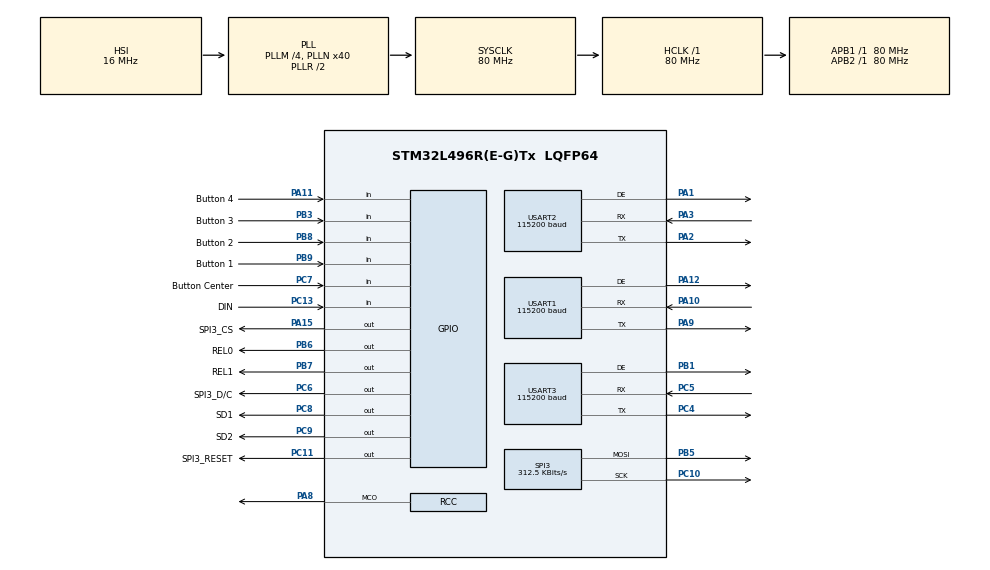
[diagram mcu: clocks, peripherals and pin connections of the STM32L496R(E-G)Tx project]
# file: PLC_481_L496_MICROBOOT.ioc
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Dma.Request0=USART1_RX
Dma.Request1=USART1_TX
Dma.Request2=USART3_RX
Dma.Request3=USART3_TX
Dma.Request4=USART2_RX
Dma.Request5=USART2_TX
Dma.USART1_RX.0.Direction=DMA_PERIPH_TO_MEMORY
Dma.USART1_RX.0.Instance=DMA1_Channel5
Dma.USART1_RX.0.MemDataAlignment=DMA_MDATAALIGN_BYTE
Dma.USART1_RX.0.MemInc=DMA_MINC_ENABLE
Dma.USART1_RX.0.Mode=DMA_NORMAL
Dma.USART1_RX.0.PeriphDataAlignment=DMA_PDATAALIGN_BYTE
Dma.USART1_RX.0.PeriphInc=DMA_PINC_DISABLE
Dma.USART1_RX.0.Priority=DMA_PRIORITY_LOW
Dma.USART1_TX.1.Direction=DMA_MEMORY_TO_PERIPH
Dma.USART1_TX.1.Instance=DMA1_Channel4
Dma.USART1_TX.1.MemDataAlignment=DMA_MDATAALIGN_BYTE
Dma.USART1_TX.1.MemInc=DMA_MINC_ENABLE
Dma.USART1_TX.1.Mode=DMA_NORMAL
Dma.USART1_TX.1.PeriphDataAlignment=DMA_PDATAALIGN_BYTE
Dma.USART1_TX.1.PeriphInc=DMA_PINC_DISABLE
Dma.USART1_TX.1.Priority=DMA_PRIORITY_LOW
Dma.USART2_RX.4.Direction=DMA_PERIPH_TO_MEMORY
Dma.USART2_RX.4.Instance=DMA1_Channel6
Dma.USART2_RX.4.MemDataAlignment=DMA_MDATAALIGN_BYTE
Dma.USART2_RX.4.MemInc=DMA_MINC_ENABLE
Dma.USART2_RX.4.Mode=DMA_NORMAL
Dma.USART2_RX.4.PeriphDataAlignment=DMA_PDATAALIGN_BYTE
Dma.USART2_RX.4.PeriphInc=DMA_PINC_DISABLE
Dma.USART2_RX.4.Priority=DMA_PRIORITY_LOW
Dma.USART2_TX.5.Direction=DMA_MEMORY_TO_PERIPH
Dma.USART2_TX.5.Instance=DMA1_Channel7
Dma.USART2_TX.5.MemDataAlignment=DMA_MDATAALIGN_BYTE
Dma.USART2_TX.5.MemInc=DMA_MINC_ENABLE
Dma.USART2_TX.5.Mode=DMA_NORMAL
Dma.USART2_TX.5.PeriphDataAlignment=DMA_PDATAALIGN_BYTE
Dma.USART2_TX.5.PeriphInc=DMA_PINC_DISABLE
Dma.USART2_TX.5.Priority=DMA_PRIORITY_LOW
Dma.USART3_RX.2.Direction=DMA_PERIPH_TO_MEMORY
Dma.USART3_RX.2.Instance=DMA1_Channel3
Dma.USART3_RX.2.MemDataAlignment=DMA_MDATAALIGN_BYTE
Dma.USART3_RX.2.MemInc=DMA_MINC_ENABLE
Dma.USART3_RX.2.Mode=DMA_NORMAL
Dma.USART3_RX.2.PeriphDataAlignment=DMA_PDATAALIGN_BYTE
Dma.USART3_RX.2.PeriphInc=DMA_PINC_DISABLE
Dma.USART3_RX.2.Priority=DMA_PRIORITY_LOW
Dma.USART3_TX.3.Direction=DMA_MEMORY_TO_PERIPH
Dma.USART3_TX.3.Instance=DMA1_Channel2
Dma.USART3_TX.3.MemDataAlignment=DMA_MDATAALIGN_BYTE
Dma.USART3_TX.3.MemInc=DMA_MINC_ENABLE
Dma.USART3_TX.3.Mode=DMA_NORMAL
Dma.USART3_TX.3.PeriphDataAlignment=DMA_PDATAALIGN_BYTE
Dma.USART3_TX.3.PeriphInc=DMA_PINC_DISABLE
Dma.USART3_TX.3.Priority=DMA_PRIORITY_LOW
IWDG.Prescaler=IWDG_PRESCALER_32
IWDG.Reload=4095
Mcu.Family=STM32L4
Mcu.Name=STM32L496R(E-G)Tx
Mcu.Package=LQFP64
NVIC.DMA1_Channel2_IRQn=true\:0\:0\:false\:false\:true\:false
NVIC.DMA1_Channel3_IRQn=true\:0\:0\:false\:false\:true\:false
NVIC.DMA1_Channel4_IRQn=true\:0\:0\:false\:false\:true\:false
NVIC.DMA1_Channel5_IRQn=true\:0\:0\:false\:false\:true\:false
NVIC.DMA1_Channel6_IRQn=true\:0\:0\:false\:false\:true\:false
NVIC.DMA1_Channel7_IRQn=true\:0\:0\:false\:false\:true\:false
NVIC.PriorityGroup=NVIC_PRIORITYGROUP_4
NVIC.TIM1_UP_TIM16_IRQn=true\:0\:0\:false\:false\:true\:false
NVIC.TIM6_DAC_IRQn=true\:0\:0\:false\:false\:true\:true
NVIC.TIM7_IRQn=true\:0\:0\:false\:false\:true\:true
NVIC.TimeBase=TIM1_UP_TIM16_IRQn
NVIC.TimeBaseIP=TIM1
NVIC.USART1_IRQn=true\:0\:0\:false\:false\:true\:true
NVIC.USART2_IRQn=true\:0\:0\:false\:false\:true\:true
NVIC.USART3_IRQn=true\:0\:0\:false\:false\:true\:true
PA1.Mode=Hardware Flow Control (RS485)
PA1.Signal=USART2_DE
PA10.Mode=Asynchronous
PA10.Signal=USART1_RX
PA11.GPIO_Label=Button 4
PA11.GPIO_PuPd=GPIO_PULLUP
PA11.Signal=GPIO_Input
PA12.Mode=Hardware Flow Control (RS485)
PA12.Signal=USART1_DE
PA13\ (JTMS/SWDIO).Mode=Serial_Wire
PA13\ (JTMS/SWDIO).Signal=SYS_JTMS-SWDIO
PA14\ (JTCK/SWCLK).Mode=Serial_Wire
PA14\ (JTCK/SWCLK).Signal=SYS_JTCK-SWCLK
PA15\ (JTDI).GPIO_Label=SPI3_CS
PA15\ (JTDI).Signal=GPIO_Output
PA2.Mode=Asynchronous
PA2.Signal=USART2_TX
PA3.Mode=Asynchronous
PA3.Signal=USART2_RX
PA8.Mode=Clock-out
PA8.Signal=RCC_MCO
PA9.Mode=Asynchronous
PA9.Signal=USART1_TX
PB1.Mode=Hardware Flow Control (RS485)
PB1.Signal=USART3_DE
PB3\ (JTDO/TRACESWO).GPIO_Label=Button 3
PB3\ (JTDO/TRACESWO).GPIO_PuPd=GPIO_PULLUP
PB3\ (JTDO/TRACESWO).Signal=GPIO_Input
PB5.Mode=TX_Only_Simplex_Unidirect_Master
PB5.Signal=SPI3_MOSI
PB6.GPIO_Label=REL0
PB6.Signal=GPIO_Output
PB7.GPIO_Label=REL1
PB7.Signal=GPIO_Output
PB8.GPIO_Label=Button 2
PB8.GPIO_PuPd=GPIO_PULLUP
PB8.Signal=GPIO_Input
PB9.GPIO_Label=Button 1
PB9.GPIO_PuPd=GPIO_PULLUP
PB9.Signal=GPIO_Input
PC10.Mode=TX_Only_Simplex_Unidirect_Master
PC10.Signal=SPI3_SCK
PC11.GPIO_Label=SPI3_RESET
PC11.Signal=GPIO_Output
PC13.GPIO_Label=DIN
PC13.GPIO_PuPd=GPIO_PULLUP
PC13.Signal=GPIO_Input
PC14-OSC32_IN\ (PC14).Mode=LSE-External-Oscillator
PC14-OSC32_IN\ (PC14).Signal=RCC_OSC32_IN
PC15-OSC32_OUT\ (PC15).Mode=LSE-External-Oscillator
PC15-OSC32_OUT\ (PC15).Signal=RCC_OSC32_OUT
PC4.Mode=Asynchronous
PC4.Signal=USART3_TX
PC5.Mode=Asynchronous
PC5.Signal=USART3_RX
PC6.GPIO_Label=SPI3_D/C
PC6.Signal=GPIO_Output
PC7.GPIO_Label=Button Center
PC7.GPIO_PuPd=GPIO_PULLUP
PC7.Signal=GPIO_Input
PC8.GPIO_Label=SD1
PC8.Signal=GPIO_Output
PC9.GPIO_Label=SD2
PC9.Signal=GPIO_Output
PH0-OSC_IN\ (PH0).Mode=HSE-External-Oscillator
PH0-OSC_IN\ (PH0).Signal=RCC_OSC_IN
PH1-OSC_OUT\ (PH1).Mode=HSE-External-Oscillator
PH1-OSC_OUT\ (PH1).Signal=RCC_OSC_OUT
ProjectManager.HeapSize=0x200
ProjectManager.StackSize=0x400
ProjectManager.TargetToolchain=MDK-ARM V5
RCC.ADCFreq_Value=32000000
RCC.AHBFreq_Value=80000000
RCC.APB1Freq_Value=80000000
RCC.APB1TimFreq_Value=80000000
RCC.APB2Freq_Value=80000000
RCC.APB2TimFreq_Value=80000000
RCC.CortexFreq_Value=80000000
RCC.HCLKFreq_Value=80000000
RCC.HSE_VALUE=14745600
RCC.HSI48_VALUE=48000000
RCC.HSI_VALUE=16000000
RCC.MSI_VALUE=4000000
RCC.PLLM=4
RCC.PLLN=40
RCC.PLLSAI1N=16
RCC.PLLSourceVirtual=RCC_PLLSOURCE_HSI
RCC.RCC_MCO1Source=RCC_MCO1SOURCE_HSE
RCC.RCC_MCODiv=RCC_MCODIV_4
RCC.SYSCLKFreq_VALUE=80000000
RCC.SYSCLKSource=RCC_SYSCLKSOURCE_PLLCLK
RCC.UART5CLockSelection=RCC_UART5CLKSOURCE_HSI
RCC.USBFreq_Value=32000000
RCC.VCOOutputFreq_Value=160000000
SPI3.BaudRatePrescaler=SPI_BAUDRATEPRESCALER_256
SPI3.CLKPhase=SPI_PHASE_2EDGE
SPI3.CLKPolarity=SPI_POLARITY_HIGH
SPI3.CalculateBaudRate=312.5 KBits/s
SPI3.DataSize=SPI_DATASIZE_8BIT
SPI3.Direction=SPI_DIRECTION_2LINES
SPI3.Mode=SPI_MODE_MASTER
SPI3.VirtualType=VM_MASTER
TIM2.Period=0xffffffff
TIM2.Prescaler=8000
TIM6.Period=3124
TIM6.TIM_MasterOutputTrigger=TIM_TRGO_UPDATE
TIM7.Period=999
TIM7.Prescaler=8000-1
TIM7.TIM_MasterOutputTrigger=TIM_TRGO_UPDATE
USART1.AutoBaudRateEnableParam=UART_ADVFEATURE_AUTOBAUDRATE_DISABLE
USART1.BaudRate=115200
USART1.OverrunDisableParam=ADVFEATURE_OVERRUN_DISABLE
USART1.UART_DEAssertionTime=1
USART1.UART_DEDeassertionTime=1
USART1.VirtualMode-Asynchronous=VM_ASYNC
USART1.VirtualMode-Hardware\ Flow\ Control\ (RS485)=VM_ASYNC
USART2.AutoBaudRateEnableParam=UART_ADVFEATURE_AUTOBAUDRATE_DISABLE
USART2.BaudRate=115200
USART2.OverrunDisableParam=ADVFEATURE_OVERRUN_DISABLE
USART2.UART_DEAssertionTime=1
USART2.UART_DEDeassertionTime=1
USART2.VirtualMode-Asynchronous=VM_ASYNC
USART2.VirtualMode-Hardware\ Flow\ Control\ (RS485)=VM_ASYNC
USART3.AutoBaudRateEnableParam=UART_ADVFEATURE_AUTOBAUDRATE_DISABLE
USART3.BaudRate=115200
USART3.OverrunDisableParam=ADVFEATURE_OVERRUN_DISABLE
USART3.UART_DEAssertionTime=1
USART3.UART_DEDeassertionTime=1
USART3.VirtualMode-Asynchronous=VM_ASYNC
USART3.VirtualMode-Hardware\ Flow\ Control\ (RS485)=VM_ASYNC
VP_IWDG_VS_IWDG.Mode=IWDG_Activate
VP_SYS_VS_tim1.Mode=TIM1
VP_TIM2_VS_ClockSourceINT.Mode=Internal
VP_TIM6_VS_ClockSourceINT.Mode=Enable_Timer
VP_TIM7_VS_ClockSourceINT.Mode=Enable_Timer
board=custom

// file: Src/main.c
/**
  ******************************************************************************
  * @file           : main.c
  * @brief          : Main program body
  ******************************************************************************
  ** This notice applies to any and all portions of this file
  * that are not between comment pairs USER CODE BEGIN and
  * USER CODE END. Other portions of this file, whether
  * inserted by the user or by software development tools
  * are owned by their respective copyright owners.
  *
  * COPYRIGHT(c) 2018 STMicroelectronics
  *
  * Redistribution and use in source and binary forms, with or without modification,
  * are permitted provided that the following conditions are met:
  *   1. Redistributions of source code must retain the above copyright notice,
  *      this list of conditions and the following disclaimer.
  *   2. Redistributions in binary form must reproduce the above copyright notice,
  *      this list of conditions and the following disclaimer in the documentation
  *      and/or other materials provided with the distribution.
  *   3. Neither the name of STMicroelectronics nor the names of its contributors
  *      may be used to endorse or promote products derived from this software
  *      without specific prior written permission.
  *
  * THIS SOFTWARE IS PROVIDED BY THE COPYRIGHT HOLDERS AND CONTRIBUTORS "AS IS"
  * AND ANY EXPRESS OR IMPLIED WARRANTIES, INCLUDING, BUT NOT LIMITED TO, THE
  * IMPLIED WARRANTIES OF MERCHANTABILITY AND FITNESS FOR A PARTICULAR PURPOSE ARE
  * DISCLAIMED. IN NO EVENT SHALL THE COPYRIGHT HOLDER OR CONTRIBUTORS BE LIABLE
  * FOR ANY DIRECT, INDIRECT, INCIDENTAL, SPECIAL, EXEMPLARY, OR CONSEQUENTIAL
  * DAMAGES (INCLUDING, BUT NOT LIMITED TO, PROCUREMENT OF SUBSTITUTE GOODS OR
  * SERVICES; LOSS OF USE, DATA, OR PROFITS; OR BUSINESS INTERRUPTION) HOWEVER
  * CAUSED AND ON ANY THEORY OF LIABILITY, WHETHER IN CONTRACT, STRICT LIABILITY,
  * OR TORT (INCLUDING NEGLIGENCE OR OTHERWISE) ARISING IN ANY WAY OUT OF THE USE
  * OF THIS SOFTWARE, EVEN IF ADVISED OF THE POSSIBILITY OF SUCH DAMAGE.
  *
  ******************************************************************************
  */
#include "main.h"
#include "stm32l4xx_hal.h"
#include "dma.h"
#include "iwdg.h"
#include "spi.h"
#include "tim.h"
#include "usart.h"
#include "gpio.h"

/* USER CODE BEGIN PV */
/* Private variables ---------------------------------------------------------*/
		uint16_t app_crc_from_flash = 0x00;
		uint32_t app_size_from_flash = 0x01;
		uint16_t app_current_crc = 0x00;

		uint16_t boot_crc_from_flash = 0x00;
		uint32_t boot_size_from_flash = 0x00;
		uint16_t boot_current_crc = 0x00;
/* USER CODE END PV */

void SystemClock_Config(void);

/* USER CODE BEGIN PFP */
/* Private function prototypes -----------------------------------------------*/

/* USER CODE END PFP */

/* USER CODE BEGIN 0 */
void JumpToApplication(uint32_t ADDRESS)
{
		typedef  void (*pFunction)(void);
		uint32_t  JumpAddress = *(__IO uint32_t*)(ADDRESS + 4);
    pFunction Jump = (pFunction)JumpAddress;

    HAL_DeInit();

    __set_CONTROL(0);
    __set_MSP(*(__IO uint32_t*) ADDRESS);
		SCB->VTOR = ADDRESS;
		Jump();
}

uint32_t read_flash(uint32_t addr)
{
	return (*(__IO uint32_t*)addr);
}

uint16_t flash_crc16(uint32_t adr, uint32_t byte_cnt)
{
	register uint16_t crc = 0xFFFF;
	static const uint16_t table[] =
	{
		0x0000, 0xC0C1, 0xC181, 0x0140, 0xC301, 0x03C0, 0x0280, 0xC241,
		0xC601, 0x06C0, 0x0780, 0xC741, 0x0500, 0xC5C1, 0xC481, 0x0440,
		0xCC01, 0x0CC0, 0x0D80, 0xCD41, 0x0F00, 0xCFC1, 0xCE81, 0x0E40,
		0x0A00, 0xCAC1, 0xCB81, 0x0B40, 0xC901, 0x09C0, 0x0880, 0xC841,
		0xD801, 0x18C0, 0x1980, 0xD941, 0x1B00, 0xDBC1, 0xDA81, 0x1A40,
		0x1E00, 0xDEC1, 0xDF81, 0x1F40, 0xDD01, 0x1DC0, 0x1C80, 0xDC41,
		0x1400, 0xD4C1, 0xD581, 0x1540, 0xD701, 0x17C0, 0x1680, 0xD641,
		0xD201, 0x12C0, 0x1380, 0xD341, 0x1100, 0xD1C1, 0xD081, 0x1040,
		0xF001, 0x30C0, 0x3180, 0xF141, 0x3300, 0xF3C1, 0xF281, 0x3240,
		0x3600, 0xF6C1, 0xF781, 0x3740, 0xF501, 0x35C0, 0x3480, 0xF441,
		0x3C00, 0xFCC1, 0xFD81, 0x3D40, 0xFF01, 0x3FC0, 0x3E80, 0xFE41,
		0xFA01, 0x3AC0, 0x3B80, 0xFB41, 0x3900, 0xF9C1, 0xF881, 0x3840,
		0x2800, 0xE8C1, 0xE981, 0x2940, 0xEB01, 0x2BC0, 0x2A80, 0xEA41,
		0xEE01, 0x2EC0, 0x2F80, 0xEF41, 0x2D00, 0xEDC1, 0xEC81, 0x2C40,
		0xE401, 0x24C0, 0x2580, 0xE541, 0x2700, 0xE7C1, 0xE681, 0x2640,
		0x2200, 0xE2C1, 0xE381, 0x2340, 0xE101, 0x21C0, 0x2080, 0xE041,
		0xA001, 0x60C0, 0x6180, 0xA141, 0x6300, 0xA3C1, 0xA281, 0x6240,
		0x6600, 0xA6C1, 0xA781, 0x6740, 0xA501, 0x65C0, 0x6480, 0xA441,
		0x6C00, 0xACC1, 0xAD81, 0x6D40, 0xAF01, 0x6FC0, 0x6E80, 0xAE41,
		0xAA01, 0x6AC0, 0x6B80, 0xAB41, 0x6900, 0xA9C1, 0xA881, 0x6840,
		0x7800, 0xB8C1, 0xB981, 0x7940, 0xBB01, 0x7BC0, 0x7A80, 0xBA41,
		0xBE01, 0x7EC0, 0x7F80, 0xBF41, 0x7D00, 0xBDC1, 0xBC81, 0x7C40,
		0xB401, 0x74C0, 0x7580, 0xB541, 0x7700, 0xB7C1, 0xB681, 0x7640,
		0x7200, 0xB2C1, 0xB381, 0x7340, 0xB101, 0x71C0, 0x7080, 0xB041,
		0x5000, 0x90C1, 0x9181, 0x5140, 0x9301, 0x53C0, 0x5280, 0x9241,
		0x9601, 0x56C0, 0x5780, 0x9741, 0x5500, 0x95C1, 0x9481, 0x5440,
		0x9C01, 0x5CC0, 0x5D80, 0x9D41, 0x5F00, 0x9FC1, 0x9E81, 0x5E40,
		0x5A00, 0x9AC1, 0x9B81, 0x5B40, 0x9901, 0x59C0, 0x5880, 0x9841,
		0x8801, 0x48C0, 0x4980, 0x8941, 0x4B00, 0x8BC1, 0x8A81, 0x4A40,
		0x4E00, 0x8EC1, 0x8F81, 0x4F40, 0x8D01, 0x4DC0, 0x4C80, 0x8C41,
		0x4400, 0x84C1, 0x8581, 0x4540, 0x8701, 0x47C0, 0x4680, 0x8641,
		0x8201, 0x42C0, 0x4380, 0x8341, 0x4100, 0x81C1, 0x8081, 0x4040
	};

	register uint8_t lut;
	uint8_t data;

	/* CRC Generation Function */
	while( byte_cnt--) /* pass through message buffer */
	{
		data = read_flash((uint32_t)adr);

		lut = crc^ data;
		crc  = (crc >> 8) ^ table[lut];

		adr++;
	}
	return crc;
}

#define CRC16_INIT 0xFFFF
uint16_t CRC16(const uint8_t *pcBlock, uint32_t len, uint16_t crc)
{
	uint8_t ixx;
	while( len-- )
	{
		crc ^= *pcBlock++ << 8;
		for( ixx = 0; ixx < 8; ixx++ )
		{
			crc = crc & 0x8000 ? ( crc << 1 ) ^ 0x1021 : crc << 1;
		}
	}
	return crc;
}

/* USER CODE END 0 */

int main(void)
{

  /* MCU Configuration----------------------------------------------------------*/

  /* Reset of all peripherals, Initializes the Flash interface and the Systick. */
  HAL_Init();

  /* Configure the system clock */
  SystemClock_Config();

  /* Initialize all configured peripherals */
  MX_GPIO_Init();
  MX_DMA_Init();
  MX_SPI3_Init();
  MX_USART1_UART_Init();
  MX_USART2_UART_Init();
  MX_USART3_UART_Init();
  MX_TIM6_Init();
  MX_TIM7_Init();
  MX_TIM2_Init();
  //MX_IWDG_Init();
  /* USER CODE BEGIN 2 */

	//HAL_IWDG_Refresh(&hiwdg);

	app_crc_from_flash = read_flash( (uint32_t)APP_CRC_ADR );
	app_size_from_flash = read_flash( (uint32_t)APP_SIZE );

	if(app_crc_from_flash != 0xFFFF)
	{
		app_current_crc = (uint16_t) flash_crc16(APP_START_ADDRESS, (uint32_t) app_size_from_flash);
	}
	else
	{
		for(int i=0; i < 3; i++)
		{
			HAL_GPIO_WritePin(GPIOC, GPIO_PIN_8, GPIO_PIN_SET);
			HAL_Delay(250);
			HAL_GPIO_WritePin(GPIOC, GPIO_PIN_8, GPIO_PIN_RESET);
			HAL_Delay(250);
		}
	}

  /* USER CODE END 2 */

  /* Infinite loop */
  /* USER CODE BEGIN WHILE */
  while (1)
  {

		HAL_IWDG_Refresh(&hiwdg);
  /* USER CODE END WHILE */

  /* USER CODE BEGIN 3 */
		if (app_crc_from_flash == app_current_crc)
		{
			HAL_GPIO_WritePin(GPIOC, GPIO_PIN_9, GPIO_PIN_SET);
			HAL_Delay(150);
			HAL_GPIO_WritePin(GPIOC, GPIO_PIN_9, GPIO_PIN_RESET);

			JumpToApplication( (uint32_t) APP_START_ADDRESS );
		}
		else
		{
			JumpToApplication( (uint32_t) BOOT_START_ADDRESS );
		}

  }
  /* USER CODE END 3 */

}

void SystemClock_Config(void)
{

  RCC_OscInitTypeDef RCC_OscInitStruct;
  RCC_ClkInitTypeDef RCC_ClkInitStruct;
  RCC_PeriphCLKInitTypeDef PeriphClkInit;

    /**Initializes the CPU, AHB and APB busses clocks
    */
  RCC_OscInitStruct.OscillatorType = RCC_OSCILLATORTYPE_HSI|RCC_OSCILLATORTYPE_LSI
                              |RCC_OSCILLATORTYPE_HSE;
  RCC_OscInitStruct.HSEState = RCC_HSE_ON;
  RCC_OscInitStruct.HSIState = RCC_HSI_ON;
  RCC_OscInitStruct.HSICalibrationValue = 64;
  RCC_OscInitStruct.LSIState = RCC_LSI_ON;
  RCC_OscInitStruct.PLL.PLLState = RCC_PLL_ON;
  RCC_OscInitStruct.PLL.PLLSource = RCC_PLLSOURCE_HSI;
  RCC_OscInitStruct.PLL.PLLM = 4;
  RCC_OscInitStruct.PLL.PLLN = 40;
  RCC_OscInitStruct.PLL.PLLP = RCC_PLLP_DIV2;
  RCC_OscInitStruct.PLL.PLLQ = RCC_PLLQ_DIV2;
  RCC_OscInitStruct.PLL.PLLR = RCC_PLLR_DIV2;
  if (HAL_RCC_OscConfig(&RCC_OscInitStruct) != HAL_OK)
  {
    _Error_Handler(__FILE__, __LINE__);
  }

    /**Initializes the CPU, AHB and APB busses clocks
    */
  RCC_ClkInitStruct.ClockType = RCC_CLOCKTYPE_HCLK|RCC_CLOCKTYPE_SYSCLK
                              |RCC_CLOCKTYPE_PCLK1|RCC_CLOCKTYPE_PCLK2;
  RCC_ClkInitStruct.SYSCLKSource = RCC_SYSCLKSOURCE_PLLCLK;
  RCC_ClkInitStruct.AHBCLKDivider = RCC_SYSCLK_DIV1;
  RCC_ClkInitStruct.APB1CLKDivider = RCC_HCLK_DIV1;
  RCC_ClkInitStruct.APB2CLKDivider = RCC_HCLK_DIV1;

  if (HAL_RCC_ClockConfig(&RCC_ClkInitStruct, FLASH_LATENCY_4) != HAL_OK)
  {
    _Error_Handler(__FILE__, __LINE__);
  }

  PeriphClkInit.PeriphClockSelection = RCC_PERIPHCLK_USART1|RCC_PERIPHCLK_USART2
                              |RCC_PERIPHCLK_USART3;
  PeriphClkInit.Usart1ClockSelection = RCC_USART1CLKSOURCE_PCLK2;
  PeriphClkInit.Usart2ClockSelection = RCC_USART2CLKSOURCE_PCLK1;
  PeriphClkInit.Usart3ClockSelection = RCC_USART3CLKSOURCE_PCLK1;
  if (HAL_RCCEx_PeriphCLKConfig(&PeriphClkInit) != HAL_OK)
  {
    _Error_Handler(__FILE__, __LINE__);
  }

  HAL_RCC_MCOConfig(RCC_MCO1, RCC_MCO1SOURCE_HSE, RCC_MCODIV_4);

    /**Configure the main internal regulator output voltage
    */
  if (HAL_PWREx_ControlVoltageScaling(PWR_REGULATOR_VOLTAGE_SCALE1) != HAL_OK)
  {
    _Error_Handler(__FILE__, __LINE__);
  }

    /**Configure the Systick interrupt time
    */
  HAL_SYSTICK_Config(HAL_RCC_GetHCLKFreq()/1000);

    /**Configure the Systick
    */
  HAL_SYSTICK_CLKSourceConfig(SYSTICK_CLKSOURCE_HCLK);

  /* SysTick_IRQn interrupt configuration */
  HAL_NVIC_SetPriority(SysTick_IRQn, 0, 0);
}

void HAL_TIM_PeriodElapsedCallback(TIM_HandleTypeDef *htim)
{
  if (htim->Instance == TIM1) {
    HAL_IncTick();
  }
}

void _Error_Handler(char *file, int line)
{
  while(1)
  {
  }
}

/************************ (C) COPYRIGHT STMicroelectronics *****END OF FILE****/
